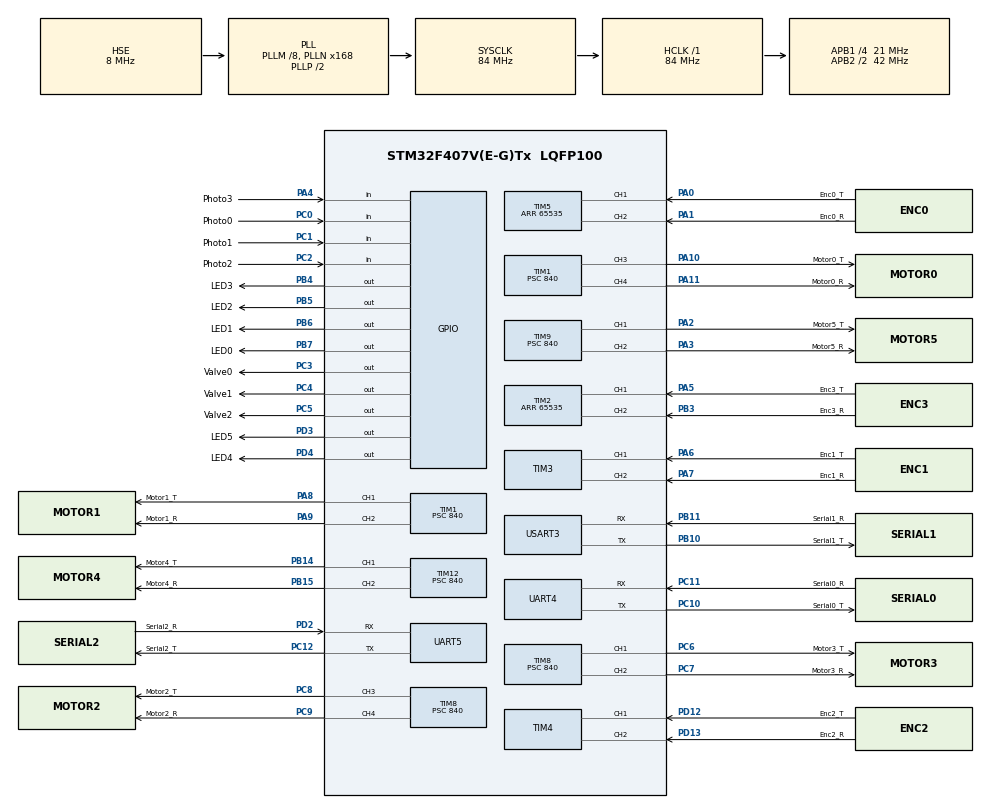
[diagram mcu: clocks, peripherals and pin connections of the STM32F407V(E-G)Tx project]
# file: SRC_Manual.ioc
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Mcu.Family=STM32F4
Mcu.Name=STM32F407V(E-G)Tx
Mcu.Package=LQFP100
NVIC.PriorityGroup=NVIC_PRIORITYGROUP_4
NVIC.TIM2_IRQn=true\:0\:0\:false\:false\:true\:true\:true\:true
NVIC.TIM3_IRQn=true\:0\:0\:false\:false\:true\:true\:true\:true
NVIC.TIM4_IRQn=true\:0\:0\:false\:false\:true\:true\:true\:true
NVIC.TIM5_IRQn=true\:0\:0\:false\:false\:true\:true\:true\:true
PA0-WKUP.GPIO_Label=Enc0_T
PA0-WKUP.Signal=S_TIM5_CH1
PA1.GPIO_Label=Enc0_R
PA1.Signal=S_TIM5_CH2
PA10.GPIO_Label=Motor0_T
PA10.Signal=S_TIM1_CH3
PA11.GPIO_Label=Motor0_R
PA11.Signal=S_TIM1_CH4
PA13.GPIO_Label=SWDIO
PA13.Mode=Serial_Wire
PA13.Signal=SYS_JTMS-SWDIO
PA14.GPIO_Label=SWCLK
PA14.Mode=Serial_Wire
PA14.Signal=SYS_JTCK-SWCLK
PA2.GPIO_Label=Motor5_T
PA2.Signal=S_TIM9_CH1
PA3.GPIO_Label=Motor5_R
PA3.Signal=S_TIM9_CH2
PA4.GPIO_Label=Photo3
PA4.GPIO_PuPd=GPIO_PULLUP
PA4.Signal=GPIO_Input
PA5.GPIO_Label=Enc3_T
PA5.Signal=S_TIM2_CH1_ETR
PA6.GPIO_Label=Enc1_T
PA6.Signal=S_TIM3_CH1
PA7.GPIO_Label=Enc1_R
PA7.Signal=S_TIM3_CH2
PA8.GPIO_Label=Motor1_T
PA8.Signal=S_TIM1_CH1
PA9.GPIO_Label=Motor1_R
PA9.Signal=S_TIM1_CH2
PB10.GPIO_Label=Serial1_T
PB10.Mode=Asynchronous
PB10.Signal=USART3_TX
PB11.GPIO_Label=Serial1_R
PB11.Mode=Asynchronous
PB11.Signal=USART3_RX
PB14.GPIO_Label=Motor4_T
PB14.Signal=S_TIM12_CH1
PB15.GPIO_Label=Motor4_R
PB15.Signal=S_TIM12_CH2
PB3.GPIO_Label=Enc3_R
PB3.Signal=S_TIM2_CH2
PB4.GPIO_Label=LED3
PB4.Signal=GPIO_Output
PB5.GPIO_Label=LED2
PB5.Signal=GPIO_Output
PB6.GPIO_Label=LED1
PB6.Signal=GPIO_Output
PB7.GPIO_Label=LED0
PB7.Signal=GPIO_Output
PC0.GPIO_Label=Photo0
PC0.GPIO_PuPd=GPIO_PULLUP
PC0.Signal=GPIO_Input
PC1.GPIO_Label=Photo1
PC1.GPIO_PuPd=GPIO_PULLUP
PC1.Signal=GPIO_Input
PC10.GPIO_Label=Serial0_T
PC10.Mode=Asynchronous
PC10.Signal=UART4_TX
PC11.GPIO_Label=Serial0_R
PC11.Mode=Asynchronous
PC11.Signal=UART4_RX
PC12.GPIO_Label=Serial2_T
PC12.Mode=Asynchronous
PC12.Signal=UART5_TX
PC2.GPIO_Label=Photo2
PC2.GPIO_PuPd=GPIO_PULLUP
PC2.Signal=GPIO_Input
PC3.GPIO_Label=Valve0
PC3.Signal=GPIO_Output
PC4.GPIO_Label=Valve1
PC4.Signal=GPIO_Output
PC5.GPIO_Label=Valve2
PC5.Signal=GPIO_Output
PC6.GPIO_Label=Motor3_T
PC6.Signal=S_TIM8_CH1
PC7.GPIO_Label=Motor3_R
PC7.Signal=S_TIM8_CH2
PC8.GPIO_Label=Motor2_T
PC8.Signal=S_TIM8_CH3
PC9.GPIO_Label=Motor2_R
PC9.Signal=S_TIM8_CH4
PD12.GPIO_Label=Enc2_T
PD12.Signal=S_TIM4_CH1
PD13.GPIO_Label=Enc2_R
PD13.Signal=S_TIM4_CH2
PD2.GPIO_Label=Serial2_R
PD2.Mode=Asynchronous
PD2.Signal=UART5_RX
PD3.GPIO_Label=LED5
PD3.Signal=GPIO_Output
PD4.GPIO_Label=LED4
PD4.Signal=GPIO_Output
PH0-OSC_IN.Mode=HSE-External-Oscillator
PH0-OSC_IN.Signal=RCC_OSC_IN
PH1-OSC_OUT.Mode=HSE-External-Oscillator
PH1-OSC_OUT.Signal=RCC_OSC_OUT
ProjectManager.HeapSize=0x200
ProjectManager.StackSize=0x400
ProjectManager.TargetToolchain=STM32CubeIDE
RCC.48MHZClocksFreq_Value=42000000
RCC.AHBFreq_Value=84000000
RCC.APB1CLKDivider=RCC_HCLK_DIV4
RCC.APB1Freq_Value=21000000
RCC.APB1TimFreq_Value=42000000
RCC.APB2CLKDivider=RCC_HCLK_DIV2
RCC.APB2Freq_Value=42000000
RCC.APB2TimFreq_Value=84000000
RCC.CortexFreq_Value=84000000
RCC.HCLKFreq_Value=84000000
RCC.HSE_VALUE=8000000
RCC.HSI_VALUE=16000000
RCC.LSE_VALUE=32768
RCC.PLLM=8
RCC.PLLN=168
RCC.PLLSourceVirtual=RCC_PLLSOURCE_HSE
RCC.SYSCLKFreq_VALUE=84000000
RCC.SYSCLKSource=RCC_SYSCLKSOURCE_PLLCLK
RCC.VCOOutputFreq_Value=168000000
SH.S_TIM12_CH1.0=TIM12_CH1,PWM Generation1 CH1
SH.S_TIM12_CH2.0=TIM12_CH2,PWM Generation2 CH2
SH.S_TIM1_CH1.0=TIM1_CH1,PWM Generation1 CH1
SH.S_TIM1_CH2.0=TIM1_CH2,PWM Generation2 CH2
SH.S_TIM1_CH3.0=TIM1_CH3,PWM Generation3 CH3
SH.S_TIM1_CH4.0=TIM1_CH4,PWM Generation4 CH4
SH.S_TIM2_CH1_ETR.0=TIM2_CH1,Encoder_Interface
SH.S_TIM2_CH2.0=TIM2_CH2,Encoder_Interface
SH.S_TIM3_CH1.0=TIM3_CH1,Encoder_Interface
SH.S_TIM3_CH2.0=TIM3_CH2,Encoder_Interface
SH.S_TIM4_CH1.0=TIM4_CH1,Encoder_Interface
SH.S_TIM4_CH2.0=TIM4_CH2,Encoder_Interface
SH.S_TIM5_CH1.0=TIM5_CH1,Encoder_Interface
SH.S_TIM5_CH2.0=TIM5_CH2,Encoder_Interface
SH.S_TIM8_CH1.0=TIM8_CH1,PWM Generation1 CH1
SH.S_TIM8_CH2.0=TIM8_CH2,PWM Generation2 CH2
SH.S_TIM8_CH3.0=TIM8_CH3,PWM Generation3 CH3
SH.S_TIM8_CH4.0=TIM8_CH4,PWM Generation4 CH4
SH.S_TIM9_CH1.0=TIM9_CH1,PWM Generation1 CH1
SH.S_TIM9_CH2.0=TIM9_CH2,PWM Generation2 CH2
TIM1.Channel-PWM\ Generation1\ CH1=TIM_CHANNEL_1
TIM1.Channel-PWM\ Generation2\ CH2=TIM_CHANNEL_2
TIM1.Channel-PWM\ Generation3\ CH3=TIM_CHANNEL_3
TIM1.Channel-PWM\ Generation4\ CH4=TIM_CHANNEL_4
TIM1.Period=1000
TIM1.Prescaler=840
TIM12.Channel-PWM\ Generation1\ CH1=TIM_CHANNEL_1
TIM12.Channel-PWM\ Generation2\ CH2=TIM_CHANNEL_2
TIM12.Period=1000
TIM12.Prescaler=840
TIM2.EncoderMode=TIM_ENCODERMODE_TI12
TIM2.Period=65535
TIM3.EncoderMode=TIM_ENCODERMODE_TI12
TIM4.EncoderMode=TIM_ENCODERMODE_TI12
TIM5.EncoderMode=TIM_ENCODERMODE_TI12
TIM5.Period=65535
TIM8.Channel-PWM\ Generation1\ CH1=TIM_CHANNEL_1
TIM8.Channel-PWM\ Generation2\ CH2=TIM_CHANNEL_2
TIM8.Channel-PWM\ Generation3\ CH3=TIM_CHANNEL_3
TIM8.Channel-PWM\ Generation4\ CH4=TIM_CHANNEL_4
TIM8.Period=1000
TIM8.Prescaler=840
TIM9.Channel-PWM\ Generation1\ CH1=TIM_CHANNEL_1
TIM9.Channel-PWM\ Generation2\ CH2=TIM_CHANNEL_2
TIM9.Period=1000
TIM9.Prescaler=840
UART4.VirtualMode=Asynchronous
UART5.VirtualMode=Asynchronous
USART3.VirtualMode=VM_ASYNC
VP_TIM12_VS_ClockSourceINT.Mode=Internal
VP_TIM1_VS_ClockSourceINT.Mode=Internal
VP_TIM8_VS_ClockSourceINT.Mode=Internal
VP_TIM9_VS_ClockSourceINT.Mode=Internal
board=custom

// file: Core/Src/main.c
/* USER CODE BEGIN Header */
/**
  ******************************************************************************
  * @file           : main.c
  * @brief          : Main program body
  ******************************************************************************
  * @attention
  *
  * Copyright (c) 2023 STMicroelectronics.
  * All rights reserved.
  *
  * This software is licensed under terms that can be found in the LICENSE file
  * in the root directory of this software component.
  * If no LICENSE file comes with this software, it is provided AS-IS.
  *
  ******************************************************************************
  */
/* USER CODE END Header */
#include "../Inc/main.h"

#include <stdio.h>
#include <string.h>
/* USER CODE END Includes */

void SystemClock_Config(void);

/* USER CODE BEGIN 0 */
int overflowcnt0 = 0;
int overflowcnt1 = 0;
int overflowcnt2 = 0;
int overflowcnt3 = 0;

void HAL_TIM_PeriodElapsedCallback(TIM_HandleTypeDef* htim)
{
	if(htim->Instance == TIM5){
		__HAL_TIM_CLEAR_FLAG(&htim5,TIM_IT_UPDATE);
		if(__HAL_TIM_IS_TIM_COUNTING_DOWN(&htim5)){
			overflowcnt0 --;
		}
		else{
			overflowcnt0 ++;
		}
	}
	if(htim->Instance == TIM3){
			__HAL_TIM_CLEAR_FLAG(&htim3,TIM_IT_UPDATE);
			if(__HAL_TIM_IS_TIM_COUNTING_DOWN(&htim3)){
				overflowcnt1 --;
			}
			else{
				overflowcnt1 ++;
			}
		}
	if(htim->Instance == TIM4){
			__HAL_TIM_CLEAR_FLAG(&htim4,TIM_IT_UPDATE);
			if(__HAL_TIM_IS_TIM_COUNTING_DOWN(&htim4)){
				overflowcnt2 --;
			}
			else{
				overflowcnt2 ++;
			}
		}
	if(htim->Instance == TIM2){
			__HAL_TIM_CLEAR_FLAG(&htim2,TIM_IT_UPDATE);
			if(__HAL_TIM_IS_TIM_COUNTING_DOWN(&htim2)){
				overflowcnt3 --;
			}
			else{
				overflowcnt3 ++;
			}
		}
}

/* USER CODE END 0 */

int main(void)
{

  /* MCU Configuration--------------------------------------------------------*/

  /* Reset of all peripherals, Initializes the Flash interface and the Systick. */
  HAL_Init();

  /* Configure the system clock */
  SystemClock_Config();

  /* Initialize all configured peripherals */
  MX_GPIO_Init();
  MX_TIM1_Init();
  MX_TIM2_Init();
  MX_TIM3_Init();
  MX_TIM4_Init();
  MX_TIM5_Init();
  MX_TIM8_Init();
  MX_TIM9_Init();
  MX_TIM12_Init();
  MX_UART4_Init();
  MX_UART5_Init();
  MX_USART3_UART_Init();
  /* USER CODE BEGIN 2 */
  HAL_TIM_Encoder_Start(&htim5,TIM_CHANNEL_ALL);
  HAL_TIM_Base_Start_IT(&htim5);
  HAL_TIM_Encoder_Start(&htim3,TIM_CHANNEL_ALL);
  HAL_TIM_Base_Start_IT(&htim3);
  HAL_TIM_Encoder_Start(&htim4,TIM_CHANNEL_ALL);
  HAL_TIM_Base_Start_IT(&htim4);
  HAL_TIM_Encoder_Start(&htim2,TIM_CHANNEL_ALL);
  HAL_TIM_Base_Start_IT(&htim2);
  HAL_TIM_PWM_Start(&htim1,TIM_CHANNEL_1);
  HAL_TIM_PWM_Start(&htim1,TIM_CHANNEL_2);
  HAL_TIM_PWM_Start(&htim1,TIM_CHANNEL_3);
  HAL_TIM_PWM_Start(&htim1,TIM_CHANNEL_4);
  HAL_TIM_PWM_Start(&htim8,TIM_CHANNEL_1);
  HAL_TIM_PWM_Start(&htim8,TIM_CHANNEL_2);
  HAL_TIM_PWM_Start(&htim8,TIM_CHANNEL_3);
  HAL_TIM_PWM_Start(&htim8,TIM_CHANNEL_4);
  HAL_TIM_PWM_Start(&htim12,TIM_CHANNEL_1);
  HAL_TIM_PWM_Start(&htim12,TIM_CHANNEL_2);
  HAL_TIM_PWM_Start(&htim9,TIM_CHANNEL_1);
  HAL_TIM_PWM_Start(&htim9,TIM_CHANNEL_2);
  //変数
  uint32_t cnt0;
  uint32_t cnt1;
  uint32_t cnt2;
  uint32_t cnt3;
  char scnt0[100];
  char scnt1[100];
  char scnt2[100];
  char scnt3[100];
  overflowcnt0 = 0;
  overflowcnt1 = 0;
  overflowcnt2 = 0;
  overflowcnt3 = 0;
  uint8_t Photo0 = HAL_GPIO_ReadPin(GPIOC, GPIO_PIN_0);
  uint8_t Photo1 = HAL_GPIO_ReadPin(GPIOC, GPIO_PIN_1);
  uint8_t Photo2 = HAL_GPIO_ReadPin(GPIOC, GPIO_PIN_2);
  uint8_t Photo3 = HAL_GPIO_ReadPin(GPIOA, GPIO_PIN_4);
  char buffer0[10];
  char buffer1[10];
  char buffer2[10];
  char buffer3[10];

  /* USER CODE END 2 */

  /* Infinite loop */
  /* USER CODE BEGIN WHILE */
    while(1){
    	cnt0 = (long)(overflowcnt0) * 0x10000 + (long)TIM5 ->CNT;
    	cnt1 = (long)(overflowcnt1) * 0x10000 + (long)TIM3 ->CNT;
    	cnt2 = (long)(overflowcnt2) * 0x10000 + (long)TIM4 ->CNT;
    	cnt3 = (long)(overflowcnt3) * 0x10000 + (long)TIM2 ->CNT;
    	sprintf(scnt0,"ENC0:%d ",cnt0);
    	sprintf(scnt1,"ENC1:%d ",cnt1);
    	sprintf(scnt2,"ENC2:%d ",cnt2);
    	sprintf(scnt3,"ENC3:%d\r\n ",cnt3);
    	HAL_UART_Transmit(&huart4, scnt0, strlen(scnt0)+1,0xFFFF);
    	HAL_UART_Transmit(&huart4, scnt1, strlen(scnt1)+1,0xFFFF);
    	HAL_UART_Transmit(&huart4, scnt2, strlen(scnt2)+1,0xFFFF);
    	HAL_UART_Transmit(&huart4, scnt3, strlen(scnt3)+1,0xFFFF);
    	///ENC

    	__HAL_TIM_SET_COMPARE(&htim1,TIM_CHANNEL_4,200);
    	__HAL_TIM_SET_COMPARE(&htim1,TIM_CHANNEL_2,200);
    	__HAL_TIM_SET_COMPARE(&htim8,TIM_CHANNEL_4,200);
    	__HAL_TIM_SET_COMPARE(&htim8,TIM_CHANNEL_2,200);
    	__HAL_TIM_SET_COMPARE(&htim12,TIM_CHANNEL_2,200);
    	__HAL_TIM_SET_COMPARE(&htim9,TIM_CHANNEL_2,200);
    	///MD

    	sprintf(buffer0, "Photo0:%d ", Photo0);
    	sprintf(buffer1, "Photo1:%d ", Photo1);
    	sprintf(buffer2, "Photo2:%d ", Photo2);
    	sprintf(buffer3, "Photo3:%d\r\n", Photo3);
    	HAL_UART_Transmit(&huart4, (uint8_t*)buffer0, strlen(buffer0),0xFFFF);
    	HAL_UART_Transmit(&huart4, (uint8_t*)buffer1, strlen(buffer1),0xFFFF);
    	HAL_UART_Transmit(&huart4, (uint8_t*)buffer2, strlen(buffer2),0xFFFF);
    	HAL_UART_Transmit(&huart4, (uint8_t*)buffer3, strlen(buffer3),0xFFFF);
    	///Photo
	    HAL_GPIO_WritePin(GPIOB,GPIO_PIN_7,GPIO_PIN_SET);
	    HAL_GPIO_WritePin(GPIOB,GPIO_PIN_6,GPIO_PIN_SET);
	    HAL_GPIO_WritePin(GPIOB,GPIO_PIN_5,GPIO_PIN_SET);
	    HAL_GPIO_WritePin(GPIOB,GPIO_PIN_4,GPIO_PIN_SET);
	    HAL_GPIO_WritePin(GPIOD,GPIO_PIN_4,GPIO_PIN_SET);
	    HAL_GPIO_WritePin(GPIOD,GPIO_PIN_3,GPIO_PIN_SET);
	    HAL_Delay(100);
	    HAL_GPIO_WritePin(GPIOB, GPIO_PIN_7, GPIO_PIN_RESET);
	    HAL_GPIO_WritePin(GPIOB, GPIO_PIN_6, GPIO_PIN_RESET);
	    HAL_GPIO_WritePin(GPIOB, GPIO_PIN_5, GPIO_PIN_RESET);
	    HAL_GPIO_WritePin(GPIOB, GPIO_PIN_4, GPIO_PIN_RESET);
	    HAL_GPIO_WritePin(GPIOD, GPIO_PIN_4, GPIO_PIN_RESET);
	    HAL_GPIO_WritePin(GPIOD, GPIO_PIN_3, GPIO_PIN_RESET);
	    HAL_Delay(100);
	    ///Cycle LED

    /* USER CODE END WHILE */

  }
}

void SystemClock_Config(void)
{
  RCC_OscInitTypeDef RCC_OscInitStruct = {0};
  RCC_ClkInitTypeDef RCC_ClkInitStruct = {0};

  /** Configure the main internal regulator output voltage
  */
  __HAL_RCC_PWR_CLK_ENABLE();
  __HAL_PWR_VOLTAGESCALING_CONFIG(PWR_REGULATOR_VOLTAGE_SCALE1);

  /** Initializes the RCC Oscillators according to the specified parameters
  * in the RCC_OscInitTypeDef structure.
  */
  RCC_OscInitStruct.OscillatorType = RCC_OSCILLATORTYPE_HSE;
  RCC_OscInitStruct.HSEState = RCC_HSE_ON;
  RCC_OscInitStruct.PLL.PLLState = RCC_PLL_ON;
  RCC_OscInitStruct.PLL.PLLSource = RCC_PLLSOURCE_HSE;
  RCC_OscInitStruct.PLL.PLLM = 8;
  RCC_OscInitStruct.PLL.PLLN = 168;
  RCC_OscInitStruct.PLL.PLLP = RCC_PLLP_DIV2;
  RCC_OscInitStruct.PLL.PLLQ = 4;
  if (HAL_RCC_OscConfig(&RCC_OscInitStruct) != HAL_OK)
  {
    Error_Handler();
  }

  /** Initializes the CPU, AHB and APB buses clocks
  */
  RCC_ClkInitStruct.ClockType = RCC_CLOCKTYPE_HCLK|RCC_CLOCKTYPE_SYSCLK
                              |RCC_CLOCKTYPE_PCLK1|RCC_CLOCKTYPE_PCLK2;
  RCC_ClkInitStruct.SYSCLKSource = RCC_SYSCLKSOURCE_PLLCLK;
  RCC_ClkInitStruct.AHBCLKDivider = RCC_SYSCLK_DIV1;
  RCC_ClkInitStruct.APB1CLKDivider = RCC_HCLK_DIV4;
  RCC_ClkInitStruct.APB2CLKDivider = RCC_HCLK_DIV2;

  if (HAL_RCC_ClockConfig(&RCC_ClkInitStruct, FLASH_LATENCY_2) != HAL_OK)
  {
    Error_Handler();
  }
}

void Error_Handler(void)
{
  __disable_irq();
  while (1)
  {
  }
}
